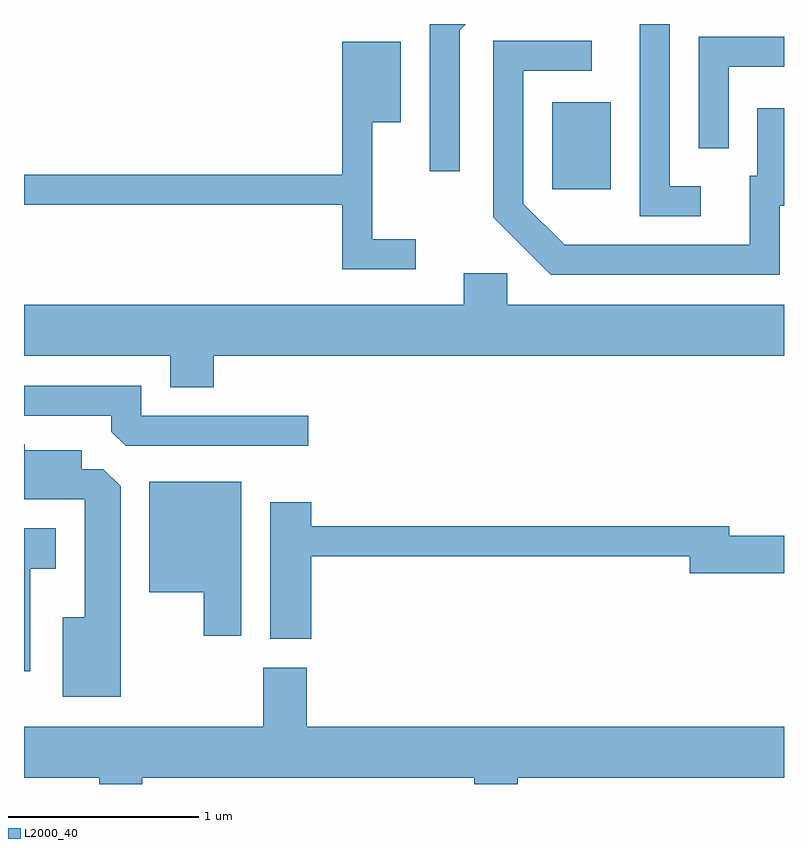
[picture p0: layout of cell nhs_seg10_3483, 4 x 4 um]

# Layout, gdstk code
import gdstk
lib = gdstk.Library(unit=1e-6, precision=1e-09)
def R(c, l, rs):  # rectangles x0, y0, x1, y1
    for r in rs: c.add(gdstk.rectangle(r[:2], r[2:], *l))
def P(c, l, *ps):  # polygons
    for p in ps: c.add(gdstk.Polygon(p, *l))
L2000_40 = (2000, 40)

nhs_seg10_3483 = lib.new_cell('nhs_seg10_3483')
R(nhs_seg10_3483, L2000_40, [(290.391,2143.651,290.699,2144.109)])
P(nhs_seg10_3483, L2000_40, [(289.904,2144.489),(289.937,2144.522),(289.746,2144.522),(289.746,2143.748),(289.904,2143.748)],
  [(291.173,2143.669),(291.009,2143.669),(291.009,2144.522),(290.851,2144.522),(290.851,2143.511),(291.173,2143.511)],
  [(291.319,2144.296),(291.611,2144.296),(291.611,2144.454),(291.161,2144.454),(291.161,2143.868),(291.319,2143.868)],
  [(291.589,2143.566),(291.611,2143.566),(291.611,2144.079),(291.471,2144.079),(291.471,2143.724),(291.431,2143.724),(291.431,2143.359),(290.457,2143.359),(290.239,2143.577),(290.239,2144.276),(290.598,2144.276),(290.598,2144.434),(290.081,2144.434),(290.081,2143.504),(290.384,2143.201),(291.589,2143.201)],
  [(289.673,2143.389),(289.444,2143.389),(289.444,2144.006),(289.594,2144.006),(289.594,2144.429),(289.286,2144.429),(289.286,2143.729),(287.611,2143.729),(287.611,2143.571),(289.286,2143.571),(289.286,2143.231),(289.673,2143.231)],
  [(288.609,2142.776),(291.611,2142.776),(291.611,2143.044),(290.154,2143.044),(290.154,2143.209),(289.926,2143.209),(289.926,2143.044),(287.611,2143.044),(287.611,2142.776),(288.381,2142.776),(288.381,2142.611),(288.609,2142.611)],
  [(289.108,2142.459),(288.229,2142.459),(288.229,2142.619),(287.611,2142.619),(287.611,2142.461),(288.071,2142.461),(288.071,2142.377),(288.147,2142.301),(289.108,2142.301)],
  [(288.119,2142.089),(288.029,2142.179),(287.914,2142.179),(287.914,2142.279),(287.614,2142.279),(287.614,2142.309),(287.611,2142.309),(287.611,2142.021),(287.931,2142.021),(287.931,2141.399),(287.816,2141.399),(287.816,2140.981),(288.119,2140.981)],
  [(288.754,2142.114),(288.271,2142.114),(288.271,2141.531),(288.556,2141.531),(288.556,2141.301),(288.754,2141.301)],
  [(289.124,2141.721),(291.116,2141.721),(291.116,2141.631),(291.611,2141.631),(291.611,2141.829),(291.324,2141.829),(291.324,2141.879),(289.124,2141.879),(289.124,2142.004),(288.906,2142.004),(288.906,2141.286),(289.124,2141.286)],
  [(287.644,2141.656),(287.779,2141.656),(287.779,2141.869),(287.611,2141.869),(287.611,2141.116),(287.644,2141.116)],
  [(288.234,2140.556),(289.981,2140.556),(289.981,2140.522),(290.209,2140.522),(290.209,2140.556),(291.611,2140.556),(291.611,2140.824),(289.099,2140.824),(289.099,2141.134),(288.871,2141.134),(288.871,2140.824),(287.611,2140.824),(287.611,2140.556),(288.006,2140.556),(288.006,2140.522),(288.234,2140.522)])

lib.write_gds('nhs_seg10_3483.gds')
